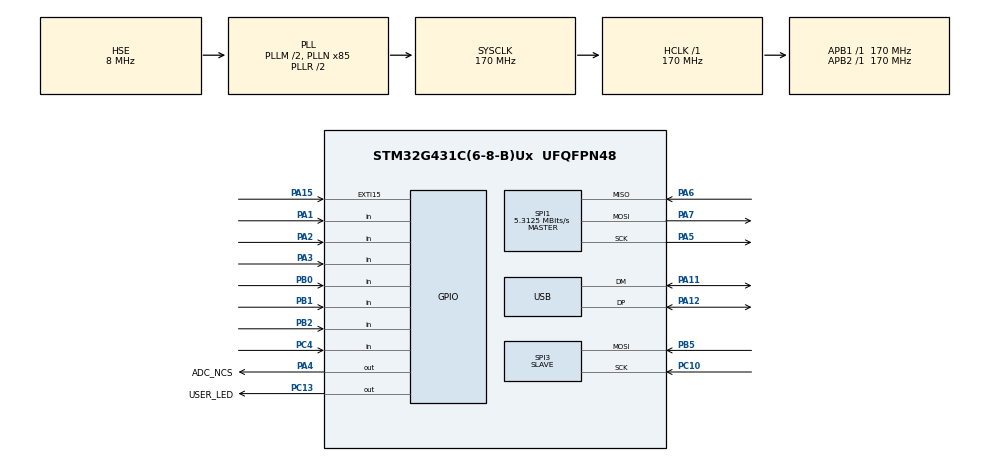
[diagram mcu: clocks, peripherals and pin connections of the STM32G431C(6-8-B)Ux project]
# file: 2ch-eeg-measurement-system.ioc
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Mcu.Family=STM32G4
Mcu.Name=STM32G431C(6-8-B)Ux
Mcu.Package=UFQFPN48
NVIC.EXTI15_10_IRQn=true\:0\:0\:false\:false\:true\:true\:true\:true
NVIC.PriorityGroup=NVIC_PRIORITYGROUP_4
NVIC.SPI3_IRQn=true\:0\:0\:false\:false\:true\:true\:true\:true
NVIC.USB_LP_IRQn=true\:0\:0\:false\:false\:true\:false\:true\:true
PA1.Signal=GPIO_Input
PA11.Mode=Device
PA11.Signal=USB_DM
PA12.Mode=Device
PA12.Signal=USB_DP
PA13.Mode=Serial_Wire
PA13.Signal=SYS_JTMS-SWDIO
PA14.Mode=Serial_Wire
PA14.Signal=SYS_JTCK-SWCLK
PA15.Signal=GPXTI15
PA2.Signal=GPIO_Input
PA3.Signal=GPIO_Input
PA4.GPIO_Label=ADC_NCS
PA4.Signal=GPIO_Output
PA5.GPIO_Speed=GPIO_SPEED_FREQ_VERY_HIGH
PA5.Mode=Full_Duplex_Master
PA5.Signal=SPI1_SCK
PA6.GPIO_Speed=GPIO_SPEED_FREQ_VERY_HIGH
PA6.Mode=Full_Duplex_Master
PA6.Signal=SPI1_MISO
PA7.GPIO_Speed=GPIO_SPEED_FREQ_VERY_HIGH
PA7.Mode=Full_Duplex_Master
PA7.Signal=SPI1_MOSI
PB0.Signal=GPIO_Input
PB1.Signal=GPIO_Input
PB2.Signal=GPIO_Input
PB5.GPIO_Speed=GPIO_SPEED_FREQ_VERY_HIGH
PB5.Mode=RX_Only_Simplex_Unidirect_Slave
PB5.Signal=SPI3_MOSI
PC10.GPIO_Speed=GPIO_SPEED_FREQ_VERY_HIGH
PC10.Mode=RX_Only_Simplex_Unidirect_Slave
PC10.Signal=SPI3_SCK
PC13.GPIO_Label=USER_LED
PC13.Signal=GPIO_Output
PC4.Signal=GPIO_Input
PF0-OSC_IN.Mode=HSE-External-Oscillator
PF0-OSC_IN.Signal=RCC_OSC_IN
PF1-OSC_OUT.Mode=HSE-External-Oscillator
PF1-OSC_OUT.Signal=RCC_OSC_OUT
ProjectManager.HeapSize=0x200
ProjectManager.StackSize=0x400
ProjectManager.TargetToolchain=STM32CubeIDE
RCC.ADC12Freq_Value=170000000
RCC.AHBFreq_Value=170000000
RCC.APB1Freq_Value=170000000
RCC.APB1TimFreq_Value=170000000
RCC.APB2Freq_Value=170000000
RCC.APB2TimFreq_Value=170000000
RCC.CK48CLockSelection=RCC_USBCLKSOURCE_HSI48
RCC.CortexFreq_Value=170000000
RCC.EXTERNAL_CLOCK_VALUE=12288000
RCC.EnbaleCSS=true
RCC.HCLKFreq_Value=170000000
RCC.HSE_VALUE=8000000
RCC.HSI48_VALUE=48000000
RCC.HSI_VALUE=16000000
RCC.LSE_VALUE=32768
RCC.PLLM=RCC_PLLM_DIV2
RCC.PLLN=85
RCC.PLLSourceVirtual=RCC_PLLSOURCE_HSE
RCC.PREFETCH_ENABLE=1
RCC.SYSCLKFreq_VALUE=170000000
RCC.SYSCLKSource=RCC_SYSCLKSOURCE_PLLCLK
RCC.USBFreq_Value=48000000
RCC.VCOOutputFreq_Value=340000000
SPI1.BaudRatePrescaler=SPI_BAUDRATEPRESCALER_32
SPI1.CalculateBaudRate=5.3125 MBits/s
SPI1.DataSize=SPI_DATASIZE_8BIT
SPI1.Direction=SPI_DIRECTION_2LINES
SPI1.Mode=SPI_MODE_MASTER
SPI1.VirtualType=VM_MASTER
SPI3.CLKPhase=SPI_PHASE_2EDGE
SPI3.DataSize=SPI_DATASIZE_8BIT
SPI3.Direction=SPI_DIRECTION_2LINES_RXONLY
SPI3.Mode=SPI_MODE_SLAVE
SPI3.VirtualType=VM_SLAVE
USB_DEVICE.APP_RX_DATA_SIZE=64
USB_DEVICE.APP_TX_DATA_SIZE=64
USB_DEVICE.CLASS_NAME_FS=CDC
USB_DEVICE.VirtualMode=Cdc
USB_DEVICE.VirtualModeFS=Cdc_FS
VP_SYS_VS_DBSignals.Mode=DisableDeadBatterySignals
VP_USB_DEVICE_VS_USB_DEVICE_CDC_FS.Mode=CDC_FS
board=custom

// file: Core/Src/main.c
/* USER CODE BEGIN Header */
/**
  ******************************************************************************
  * @file           : main.c
  * @brief          : Main program body
  ******************************************************************************
  * @attention
  *
  * Copyright (c) 2025 STMicroelectronics.
  * All rights reserved.
  *
  * This software is licensed under terms that can be found in the LICENSE file
  * in the root directory of this software component.
  * If no LICENSE file comes with this software, it is provided AS-IS.
  *
  ******************************************************************************
  */
/* USER CODE END Header */
#include "main.h"
#include "usb_device.h"

/* USER CODE BEGIN Includes */
#include "usbd_cdc_if.h"
#include "sys_service_mng.h"
/* USER CODE END Includes */

SPI_HandleTypeDef hspi1;
SPI_HandleTypeDef hspi3;

/* USER CODE BEGIN PV */
char testMsg[] = "Test message";
uint32_t uTick = 0;
/* USER CODE END PV */

void SystemClock_Config(void);
static void MX_GPIO_Init(void);
static void MX_SPI1_Init(void);
static void MX_SPI3_Init(void);

/* USER CODE BEGIN 0 */
int _write(int file, char *ptr, int len)
{
    CDC_Transmit_FS((uint8_t*) ptr, len); return len;
}

/* USER CODE END 0 */

int main(void)
{

  /* MCU Configuration--------------------------------------------------------*/

  /* Reset of all peripherals, Initializes the Flash interface and the Systick. */
  HAL_Init();

  /* Configure the system clock */
  SystemClock_Config();

  /* Initialize all configured peripherals */
  MX_GPIO_Init();
  MX_SPI1_Init();
  MX_USB_Device_Init();
  MX_SPI3_Init();
  /* USER CODE BEGIN 2 */
  HAL_NVIC_DisableIRQ(EXTI15_10_IRQn);
  SYS_SERVICE_MNG_Init();
  HAL_NVIC_EnableIRQ(EXTI15_10_IRQn);
  uTick = HAL_GetTick();
  /* USER CODE END 2 */

  /* Infinite loop */
  while (1)
  {

    /* USER CODE BEGIN 3 */
    if (HAL_GetTick() - uTick > 1000)
    {
      HAL_GPIO_TogglePin(USER_LED_GPIO_Port, USER_LED_Pin);
      uTick = HAL_GetTick();
    }
    SYS_SERVICE_MNG_Process();

  }
  /* USER CODE END 3 */
}

void SystemClock_Config(void)
{
  RCC_OscInitTypeDef RCC_OscInitStruct = {0};
  RCC_ClkInitTypeDef RCC_ClkInitStruct = {0};

  /** Configure the main internal regulator output voltage
  */
  HAL_PWREx_ControlVoltageScaling(PWR_REGULATOR_VOLTAGE_SCALE1_BOOST);

  /** Initializes the RCC Oscillators according to the specified parameters
  * in the RCC_OscInitTypeDef structure.
  */
  RCC_OscInitStruct.OscillatorType = RCC_OSCILLATORTYPE_HSI48|RCC_OSCILLATORTYPE_HSE;
  RCC_OscInitStruct.HSEState = RCC_HSE_ON;
  RCC_OscInitStruct.HSI48State = RCC_HSI48_ON;
  RCC_OscInitStruct.PLL.PLLState = RCC_PLL_ON;
  RCC_OscInitStruct.PLL.PLLSource = RCC_PLLSOURCE_HSE;
  RCC_OscInitStruct.PLL.PLLM = RCC_PLLM_DIV2;
  RCC_OscInitStruct.PLL.PLLN = 85;
  RCC_OscInitStruct.PLL.PLLP = RCC_PLLP_DIV2;
  RCC_OscInitStruct.PLL.PLLQ = RCC_PLLQ_DIV2;
  RCC_OscInitStruct.PLL.PLLR = RCC_PLLR_DIV2;
  if (HAL_RCC_OscConfig(&RCC_OscInitStruct) != HAL_OK)
  {
    Error_Handler();
  }

  /** Initializes the CPU, AHB and APB buses clocks
  */
  RCC_ClkInitStruct.ClockType = RCC_CLOCKTYPE_HCLK|RCC_CLOCKTYPE_SYSCLK
                              |RCC_CLOCKTYPE_PCLK1|RCC_CLOCKTYPE_PCLK2;
  RCC_ClkInitStruct.SYSCLKSource = RCC_SYSCLKSOURCE_PLLCLK;
  RCC_ClkInitStruct.AHBCLKDivider = RCC_SYSCLK_DIV1;
  RCC_ClkInitStruct.APB1CLKDivider = RCC_HCLK_DIV1;
  RCC_ClkInitStruct.APB2CLKDivider = RCC_HCLK_DIV1;

  if (HAL_RCC_ClockConfig(&RCC_ClkInitStruct, FLASH_LATENCY_4) != HAL_OK)
  {
    Error_Handler();
  }

  /** Enables the Clock Security System
  */
  HAL_RCC_EnableCSS();
}

static void MX_SPI1_Init(void)
{

  /* SPI1 parameter configuration*/
  hspi1.Instance = SPI1;
  hspi1.Init.Mode = SPI_MODE_MASTER;
  hspi1.Init.Direction = SPI_DIRECTION_2LINES;
  hspi1.Init.DataSize = SPI_DATASIZE_8BIT;
  hspi1.Init.CLKPolarity = SPI_POLARITY_LOW;
  hspi1.Init.CLKPhase = SPI_PHASE_1EDGE;
  hspi1.Init.NSS = SPI_NSS_SOFT;
  hspi1.Init.BaudRatePrescaler = SPI_BAUDRATEPRESCALER_32;
  hspi1.Init.FirstBit = SPI_FIRSTBIT_MSB;
  hspi1.Init.TIMode = SPI_TIMODE_DISABLE;
  hspi1.Init.CRCCalculation = SPI_CRCCALCULATION_DISABLE;
  hspi1.Init.CRCPolynomial = 7;
  hspi1.Init.CRCLength = SPI_CRC_LENGTH_DATASIZE;
  hspi1.Init.NSSPMode = SPI_NSS_PULSE_ENABLE;
  if (HAL_SPI_Init(&hspi1) != HAL_OK)
  {
    Error_Handler();
  }

}

static void MX_SPI3_Init(void)
{

  /* SPI3 parameter configuration*/
  hspi3.Instance = SPI3;
  hspi3.Init.Mode = SPI_MODE_SLAVE;
  hspi3.Init.Direction = SPI_DIRECTION_2LINES_RXONLY;
  hspi3.Init.DataSize = SPI_DATASIZE_8BIT;
  hspi3.Init.CLKPolarity = SPI_POLARITY_LOW;
  hspi3.Init.CLKPhase = SPI_PHASE_2EDGE;
  hspi3.Init.NSS = SPI_NSS_SOFT;
  hspi3.Init.FirstBit = SPI_FIRSTBIT_MSB;
  hspi3.Init.TIMode = SPI_TIMODE_DISABLE;
  hspi3.Init.CRCCalculation = SPI_CRCCALCULATION_DISABLE;
  hspi3.Init.CRCPolynomial = 7;
  hspi3.Init.CRCLength = SPI_CRC_LENGTH_DATASIZE;
  hspi3.Init.NSSPMode = SPI_NSS_PULSE_DISABLE;
  if (HAL_SPI_Init(&hspi3) != HAL_OK)
  {
    Error_Handler();
  }

}

static void MX_GPIO_Init(void)
{
  GPIO_InitTypeDef GPIO_InitStruct = {0};

  /* GPIO Ports Clock Enable */
  __HAL_RCC_GPIOC_CLK_ENABLE();
  __HAL_RCC_GPIOF_CLK_ENABLE();
  __HAL_RCC_GPIOG_CLK_ENABLE();
  __HAL_RCC_GPIOA_CLK_ENABLE();
  __HAL_RCC_GPIOB_CLK_ENABLE();

  /*Configure GPIO pin Output Level */
  HAL_GPIO_WritePin(USER_LED_GPIO_Port, USER_LED_Pin, GPIO_PIN_RESET);

  /*Configure GPIO pin Output Level */
  HAL_GPIO_WritePin(ADC_NCS_GPIO_Port, ADC_NCS_Pin, GPIO_PIN_RESET);

  /*Configure GPIO pin : USER_LED_Pin */
  GPIO_InitStruct.Pin = USER_LED_Pin;
  GPIO_InitStruct.Mode = GPIO_MODE_OUTPUT_PP;
  GPIO_InitStruct.Pull = GPIO_NOPULL;
  GPIO_InitStruct.Speed = GPIO_SPEED_FREQ_LOW;
  HAL_GPIO_Init(USER_LED_GPIO_Port, &GPIO_InitStruct);

  /*Configure GPIO pins : PC14 PC15 PC6 PC11 */
  GPIO_InitStruct.Pin = GPIO_PIN_14|GPIO_PIN_15|GPIO_PIN_6|GPIO_PIN_11;
  GPIO_InitStruct.Mode = GPIO_MODE_ANALOG;
  GPIO_InitStruct.Pull = GPIO_NOPULL;
  HAL_GPIO_Init(GPIOC, &GPIO_InitStruct);

  /*Configure GPIO pin : PG10 */
  GPIO_InitStruct.Pin = GPIO_PIN_10;
  GPIO_InitStruct.Mode = GPIO_MODE_ANALOG;
  GPIO_InitStruct.Pull = GPIO_NOPULL;
  HAL_GPIO_Init(GPIOG, &GPIO_InitStruct);

  /*Configure GPIO pins : PA0 PA8 PA9 PA10 */
  GPIO_InitStruct.Pin = GPIO_PIN_0|GPIO_PIN_8|GPIO_PIN_9|GPIO_PIN_10;
  GPIO_InitStruct.Mode = GPIO_MODE_ANALOG;
  GPIO_InitStruct.Pull = GPIO_NOPULL;
  HAL_GPIO_Init(GPIOA, &GPIO_InitStruct);

  /*Configure GPIO pins : PA1 PA2 PA3 */
  GPIO_InitStruct.Pin = GPIO_PIN_1|GPIO_PIN_2|GPIO_PIN_3;
  GPIO_InitStruct.Mode = GPIO_MODE_INPUT;
  GPIO_InitStruct.Pull = GPIO_NOPULL;
  HAL_GPIO_Init(GPIOA, &GPIO_InitStruct);

  /*Configure GPIO pin : ADC_NCS_Pin */
  GPIO_InitStruct.Pin = ADC_NCS_Pin;
  GPIO_InitStruct.Mode = GPIO_MODE_OUTPUT_PP;
  GPIO_InitStruct.Pull = GPIO_NOPULL;
  GPIO_InitStruct.Speed = GPIO_SPEED_FREQ_LOW;
  HAL_GPIO_Init(ADC_NCS_GPIO_Port, &GPIO_InitStruct);

  /*Configure GPIO pin : PC4 */
  GPIO_InitStruct.Pin = GPIO_PIN_4;
  GPIO_InitStruct.Mode = GPIO_MODE_INPUT;
  GPIO_InitStruct.Pull = GPIO_NOPULL;
  HAL_GPIO_Init(GPIOC, &GPIO_InitStruct);

  /*Configure GPIO pins : PB0 PB1 PB2 */
  GPIO_InitStruct.Pin = GPIO_PIN_0|GPIO_PIN_1|GPIO_PIN_2;
  GPIO_InitStruct.Mode = GPIO_MODE_INPUT;
  GPIO_InitStruct.Pull = GPIO_NOPULL;
  HAL_GPIO_Init(GPIOB, &GPIO_InitStruct);

  /*Configure GPIO pins : PB10 PB11 PB12 PB13
                           PB14 PB15 PB3 PB4
                           PB6 PB7 PB8 PB9 */
  GPIO_InitStruct.Pin = GPIO_PIN_10|GPIO_PIN_11|GPIO_PIN_12|GPIO_PIN_13
                          |GPIO_PIN_14|GPIO_PIN_15|GPIO_PIN_3|GPIO_PIN_4
                          |GPIO_PIN_6|GPIO_PIN_7|GPIO_PIN_8|GPIO_PIN_9;
  GPIO_InitStruct.Mode = GPIO_MODE_ANALOG;
  GPIO_InitStruct.Pull = GPIO_NOPULL;
  HAL_GPIO_Init(GPIOB, &GPIO_InitStruct);

  /*Configure GPIO pin : PA15 */
  GPIO_InitStruct.Pin = GPIO_PIN_15;
  GPIO_InitStruct.Mode = GPIO_MODE_IT_RISING;
  GPIO_InitStruct.Pull = GPIO_NOPULL;
  HAL_GPIO_Init(GPIOA, &GPIO_InitStruct);

  /* EXTI interrupt init*/
  HAL_NVIC_SetPriority(EXTI15_10_IRQn, 0, 0);
  HAL_NVIC_EnableIRQ(EXTI15_10_IRQn);

}

void Error_Handler(void)
{
  /* USER CODE BEGIN Error_Handler_Debug */
  /* User can add his own implementation to report the HAL error return state */
  __disable_irq();
  while (1)
  {
    HAL_GPIO_TogglePin(USER_LED_GPIO_Port, USER_LED_Pin);
    HAL_Delay(500);
  }
  /* USER CODE END Error_Handler_Debug */
}
